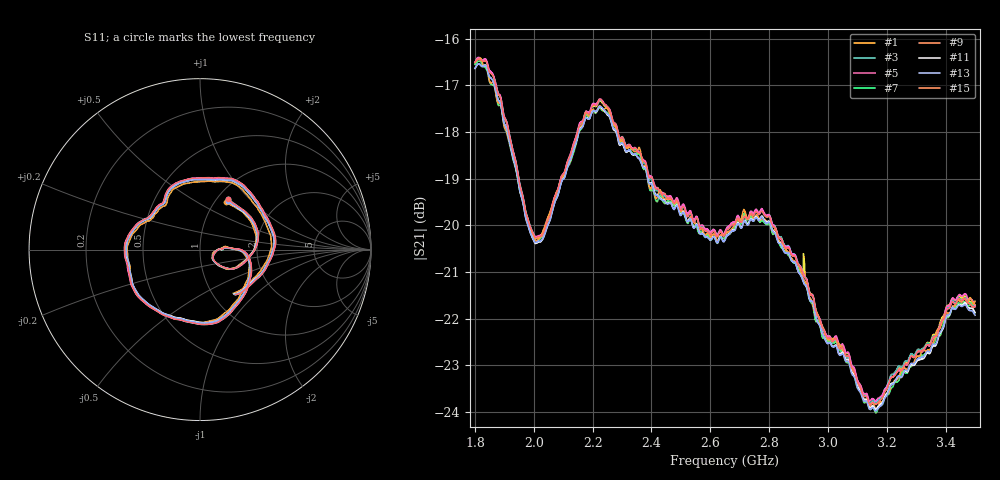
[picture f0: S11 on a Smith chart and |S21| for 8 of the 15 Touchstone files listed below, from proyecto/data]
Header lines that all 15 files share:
! Created with skrf 1.9.0 (http://scikit-rf.org).
# Hz S RI R 50.0
!freq ReS11 ImS11 ReS21 ImS21 ReS12 ImS12 ReS22 ImS22
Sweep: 1.8 GHz to 3.5 GHz
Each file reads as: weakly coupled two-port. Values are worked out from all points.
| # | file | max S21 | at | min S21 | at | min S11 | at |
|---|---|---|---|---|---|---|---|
| 1 | A39_D05_B2_O000_corrected.s2p | -16.44 dB | 1.815 GHz | -23.8 dB | 3.163 GHz | -21.4 dB | 2.089 GHz |
| 2 | A39_D05_B2_O120_corrected.s2p | -16.41 dB | 1.811 GHz | -23.8 dB | 3.162 GHz | -21.4 dB | 2.09 GHz |
| 3 | A39_D05_B2_O240_corrected.s2p | -16.43 dB | 1.812 GHz | -23.8 dB | 3.143 GHz | -21.3 dB | 2.089 GHz |
| 4 | A39_D06_B2_O000_corrected.s2p | -16.45 dB | 1.811 GHz | -23.8 dB | 3.161 GHz | -21.3 dB | 2.089 GHz |
| 5 | A39_D06_B2_O120_corrected.s2p | -16.40 dB | 1.812 GHz | -23.8 dB | 3.162 GHz | -21.4 dB | 2.089 GHz |
| 6 | A39_D06_B2_O240_corrected.s2p | -16.42 dB | 1.812 GHz | -23.8 dB | 3.142 GHz | -21.3 dB | 2.088 GHz |
| 7 | A40_D02_B2_O120_corrected.s2p | -16.48 dB | 1.81 GHz | -24.0 dB | 3.162 GHz | -22.3 dB | 2.092 GHz |
| 8 | A40_D02_B2_O240_corrected.s2p | -16.51 dB | 1.812 GHz | -24.1 dB | 3.162 GHz | -22.1 dB | 2.091 GHz |
| 9 | A40_D03_B2_O120_corrected.s2p | -16.42 dB | 1.817 GHz | -24.0 dB | 3.165 GHz | -22.1 dB | 2.092 GHz |
| 10 | A40_D03_B2_O240_corrected.s2p | -16.45 dB | 1.818 GHz | -24.0 dB | 3.165 GHz | -21.9 dB | 2.09 GHz |
| 11 | A40_D04_B2_O000_corrected.s2p | -16.54 dB | 1.812 GHz | -23.9 dB | 3.162 GHz | -21.5 dB | 2.091 GHz |
| 12 | A40_D04_B2_O120_corrected.s2p | -16.53 dB | 1.812 GHz | -24.0 dB | 3.163 GHz | -21.6 dB | 2.09 GHz |
| 13 | A40_D04_B2_O240_corrected.s2p | -16.54 dB | 1.812 GHz | -24.0 dB | 3.162 GHz | -21.6 dB | 2.09 GHz |
| 14 | A40_D05_B2_O000_corrected.s2p | -16.46 dB | 1.811 GHz | -23.8 dB | 3.161 GHz | -21.3 dB | 2.09 GHz |
| 15 | A40_D05_B2_O240_corrected.s2p | -16.44 dB | 1.811 GHz | -23.8 dB | 3.142 GHz | -21.4 dB | 2.088 GHz |
